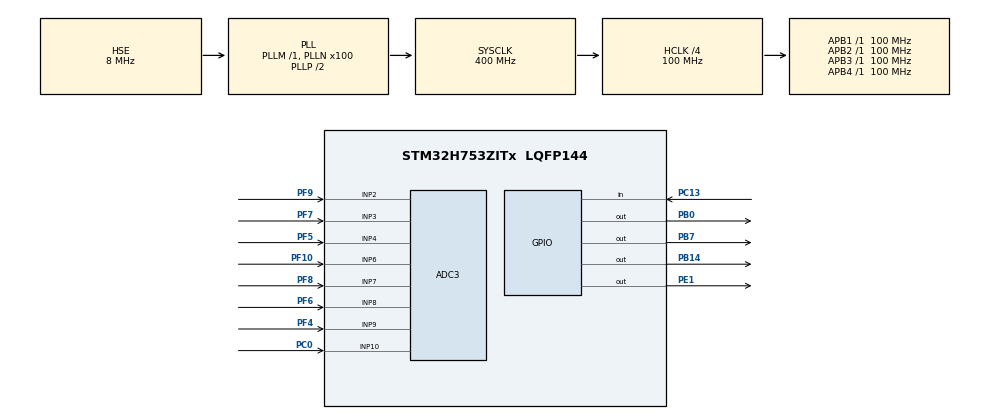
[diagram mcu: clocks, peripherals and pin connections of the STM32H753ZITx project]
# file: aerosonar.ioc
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ADC3.Channel-0\#ChannelRegularConversion=ADC_CHANNEL_2
ADC3.Channel-1\#ChannelRegularConversion=ADC_CHANNEL_3
ADC3.Channel-2\#ChannelRegularConversion=ADC_CHANNEL_4
ADC3.Channel-3\#ChannelRegularConversion=ADC_CHANNEL_6
ADC3.Channel-4\#ChannelRegularConversion=ADC_CHANNEL_7
ADC3.Channel-5\#ChannelRegularConversion=ADC_CHANNEL_8
ADC3.Channel-6\#ChannelRegularConversion=ADC_CHANNEL_9
ADC3.Channel-7\#ChannelRegularConversion=ADC_CHANNEL_10
ADC3.ConversionDataManagement=ADC_CONVERSIONDATA_DMA_CIRCULAR
ADC3.ExternalTrigConv=ADC_EXTERNALTRIG_T6_TRGO
ADC3.NbrOfConversion=8
ADC3.NbrOfConversionFlag=1
ADC3.OffsetNumber-0\#ChannelRegularConversion=ADC_OFFSET_NONE
ADC3.OffsetNumber-1\#ChannelRegularConversion=ADC_OFFSET_NONE
ADC3.OffsetNumber-2\#ChannelRegularConversion=ADC_OFFSET_NONE
ADC3.OffsetNumber-3\#ChannelRegularConversion=ADC_OFFSET_NONE
ADC3.OffsetNumber-4\#ChannelRegularConversion=ADC_OFFSET_NONE
ADC3.OffsetNumber-5\#ChannelRegularConversion=ADC_OFFSET_NONE
ADC3.OffsetNumber-6\#ChannelRegularConversion=ADC_OFFSET_NONE
ADC3.OffsetNumber-7\#ChannelRegularConversion=ADC_OFFSET_NONE
ADC3.OffsetSignedSaturation-0\#ChannelRegularConversion=DISABLE
ADC3.OffsetSignedSaturation-1\#ChannelRegularConversion=DISABLE
ADC3.OffsetSignedSaturation-2\#ChannelRegularConversion=DISABLE
ADC3.OffsetSignedSaturation-3\#ChannelRegularConversion=DISABLE
ADC3.OffsetSignedSaturation-4\#ChannelRegularConversion=DISABLE
ADC3.OffsetSignedSaturation-5\#ChannelRegularConversion=DISABLE
ADC3.OffsetSignedSaturation-6\#ChannelRegularConversion=DISABLE
ADC3.OffsetSignedSaturation-7\#ChannelRegularConversion=DISABLE
ADC3.Overrun=ADC_OVR_DATA_OVERWRITTEN
ADC3.Rank-0\#ChannelRegularConversion=1
ADC3.Rank-1\#ChannelRegularConversion=2
ADC3.Rank-2\#ChannelRegularConversion=3
ADC3.Rank-3\#ChannelRegularConversion=4
ADC3.Rank-4\#ChannelRegularConversion=5
ADC3.Rank-5\#ChannelRegularConversion=6
ADC3.Rank-6\#ChannelRegularConversion=7
ADC3.Rank-7\#ChannelRegularConversion=8
ADC3.SamplingTime-0\#ChannelRegularConversion=ADC_SAMPLETIME_8CYCLES_5
ADC3.SamplingTime-1\#ChannelRegularConversion=ADC_SAMPLETIME_8CYCLES_5
ADC3.SamplingTime-2\#ChannelRegularConversion=ADC_SAMPLETIME_8CYCLES_5
ADC3.SamplingTime-3\#ChannelRegularConversion=ADC_SAMPLETIME_8CYCLES_5
ADC3.SamplingTime-4\#ChannelRegularConversion=ADC_SAMPLETIME_8CYCLES_5
ADC3.SamplingTime-5\#ChannelRegularConversion=ADC_SAMPLETIME_8CYCLES_5
ADC3.SamplingTime-6\#ChannelRegularConversion=ADC_SAMPLETIME_8CYCLES_5
ADC3.SamplingTime-7\#ChannelRegularConversion=ADC_SAMPLETIME_8CYCLES_5
Bdma.ADC3.0.Direction=DMA_PERIPH_TO_MEMORY
Bdma.ADC3.0.EventEnable=DISABLE
Bdma.ADC3.0.Instance=BDMA_Channel0
Bdma.ADC3.0.MemDataAlignment=DMA_MDATAALIGN_HALFWORD
Bdma.ADC3.0.MemInc=DMA_MINC_ENABLE
Bdma.ADC3.0.Mode=DMA_CIRCULAR
Bdma.ADC3.0.PeriphDataAlignment=DMA_PDATAALIGN_HALFWORD
Bdma.ADC3.0.PeriphInc=DMA_PINC_DISABLE
Bdma.ADC3.0.Polarity=HAL_DMAMUX_REQ_GEN_RISING
Bdma.ADC3.0.Priority=DMA_PRIORITY_HIGH
Bdma.ADC3.0.RequestNumber=1
Bdma.ADC3.0.SignalID=NONE
Bdma.ADC3.0.SyncEnable=DISABLE
Bdma.ADC3.0.SyncPolarity=HAL_DMAMUX_SYNC_NO_EVENT
Bdma.ADC3.0.SyncRequestNumber=1
Bdma.ADC3.0.SyncSignalID=NONE
Bdma.Request0=ADC3
Bdma.RequestsNb=1
CORTEX_M7.AccessPermission_Spec=MPU_REGION_FULL_ACCESS
CORTEX_M7.BaseAddress_Spec=0x38000000
CORTEX_M7.CPU_DCache=Enabled
CORTEX_M7.CPU_ICache=Enabled
CORTEX_M7.MPU_Control=MPU_HFNMI_PRIVDEF
CORTEX_M7.Size_Spec=MPU_REGION_SIZE_64KB
CORTEX_M7.SubRegionDisable_Spec=0x00
CORTEX_M7.default_mode_Activation=1
Mcu.Family=STM32H7
Mcu.Name=STM32H753ZITx
Mcu.Package=LQFP144
NUCLEO-H753ZI.BUTTON=1
NUCLEO-H753ZI.LD1=true
NUCLEO-H753ZI.LD2=true
NUCLEO-H753ZI.LD3=true
NUCLEO-H753ZI.VCP=true
NVIC.ADC3_IRQn=true\:0\:0\:false\:false\:true\:true\:true\:true
NVIC.BDMA_Channel0_IRQn=true\:0\:0\:false\:false\:true\:false\:true\:true
NVIC.EXTI15_10_IRQn=true\:0\:0\:false\:false\:true\:false\:true\:true
NVIC.PriorityGroup=NVIC_PRIORITYGROUP_4
PB0.Signal=GPIO_Output
PB14.Signal=GPIO_Output
PB7.Signal=GPIO_Output
PC0.Signal=ADCx_INP10
PC13.Signal=GPIO_Input
PC14-OSC32_IN\ (OSC32_IN).Signal=RCC_OSC32_IN
PC15-OSC32_OUT\ (OSC32_OUT).Signal=RCC_OSC32_OUT
PD8.Signal=USART3_TX
PD9.Signal=USART3_RX
PE1.Signal=GPIO_Output
PF10.Mode=IN6-Single-Ended
PF10.Signal=ADC3_INP6
PF4.Mode=IN9-Single-Ended
PF4.Signal=ADC3_INP9
PF5.Mode=IN4-Single-Ended
PF5.Signal=ADC3_INP4
PF6.Mode=IN8-Single-Ended
PF6.Signal=ADC3_INP8
PF7.Mode=IN3-Single-Ended
PF7.Signal=ADC3_INP3
PF8.Mode=IN7-Single-Ended
PF8.Signal=ADC3_INP7
PF9.Mode=IN2-Single-Ended
PF9.Signal=ADC3_INP2
PH0-OSC_IN\ (PH0).Mode=HSE-External-Clock-Source
PH0-OSC_IN\ (PH0).Signal=RCC_OSC_IN
PH1-OSC_OUT\ (PH1).Signal=RCC_OSC_OUT
ProjectManager.HeapSize=0x200
ProjectManager.StackSize=0x400
ProjectManager.TargetToolchain=STM32CubeIDE
RCC.ADCFreq_Value=50000000
RCC.APB1Freq_Value=100000000
RCC.APB2Freq_Value=100000000
RCC.APB3Freq_Value=100000000
RCC.APB4Freq_Value=100000000
RCC.CortexFreq_Value=400000000
RCC.DIVM1=1
RCC.DIVM2=2
RCC.DIVN1=100
RCC.DIVN2=100
RCC.DIVP2=8
RCC.DIVQ1=4
RCC.HCLKFreq_Value=100000000
RCC.HPRE=RCC_HCLK_DIV4
RCC.HSE_VALUE=8000000
RCC.PLL2FRACN=0
RCC.PLL3FRACN=0
RCC.PLLFRACN=0
RCC.PLLSourceVirtual=RCC_PLLSOURCE_HSE
RCC.PWR_Regulator_Voltage_Scale=PWR_REGULATOR_VOLTAGE_SCALE1
RCC.SYSCLKFreq_VALUE=400000000
RCC.SYSCLKSource=RCC_SYSCLKSOURCE_PLLCLK
RCC.USBFreq_Value=200000000
SH.ADCx_INP10.0=ADC3_INP10,IN10-Single-Ended
TIM6.AutoReloadPreload=TIM_AUTORELOAD_PRELOAD_ENABLE
TIM6.Period=3999
TIM6.TIM_MasterOutputTrigger=TIM_TRGO_UPDATE
VP_MEMORYMAP_VS_MEMORYMAP.Mode=CurAppReg
VP_NUCLEO-H753ZI_VS_BSP_COMMON.Mode=COMMON
VP_TIM6_VS_ClockSourceINT.Mode=Enable_Timer
board=NUCLEO-H753ZI

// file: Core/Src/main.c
/* USER CODE BEGIN Header */
/**
  ******************************************************************************
  * @file           : main.c
  * @brief          : Acquisition and processing entry point for the acoustic
  *                   localization subsystem.
  *
  * Eight microphone channels are sampled by a single converter under timer
  * pacing and transferred to memory by DMA without processor involvement.
  * The processor is interrupted twice per buffer traversal and performs all
  * signal processing from the main loop.
  *
  * Signal chain:
  *   TIM6 (25 kHz TRGO) -> ADC3 (8-rank scan, 16-bit) -> BDMA (circular)
  *   -> adc_buf in SRAM4 -> DOA_Process -> bearing estimate
  *
  * The acquisition buffer must reside in the D3 domain, since BDMA is the
  * only controller able to serve ADC3 and can master only D3 memory. Its
  * placement is fixed by an explicit linker section; see MPU_Config for the
  * corresponding cache attributes.
  ******************************************************************************
  * @attention
  *
  * Copyright (c) 2026 STMicroelectronics.
  * All rights reserved.
  *
  * This software is licensed under terms that can be found in the LICENSE file
  * in the root directory of this software component.
  * If no LICENSE file comes with this software, it is provided AS-IS.
  *
  ******************************************************************************
  */
/* USER CODE END Header */
#include "main.h"

/* USER CODE BEGIN Includes */
#include "doa.h"
#include <stdio.h>
/* USER CODE END Includes */

COM_InitTypeDef BspCOMInit;
ADC_HandleTypeDef hadc3;
DMA_HandleTypeDef hdma_adc3;

TIM_HandleTypeDef htim6;

/* USER CODE BEGIN PV */

/* Acquisition geometry. ADC_CH is the converter sequence length; ADC_FRAMES
 * is the frame length in samples per channel. The trailing factor of two
 * provides the two half-buffers: the DMA controller fills one while the
 * processor operates on the other.                                          */
#define ADC_CH       8
#define ADC_FRAMES   1024
#define ADC_BUF_LEN  (ADC_CH * ADC_FRAMES * 2)

/* A mismatch between the acquisition geometry and the estimator's frame
 * configuration produces no diagnostic at run time: the transform would
 * silently process the wrong number of samples.                             */
_Static_assert(ADC_FRAMES == DOA_N,
               "Frame length must match DOA_N");
_Static_assert(ADC_CH == DOA_NUM_MIC,
               "Converter sequence length must match DOA_NUM_MIC");

/* Placed in SRAM4 by the .RAM_D3 linker section. KEEP is applied there
 * because the buffer is referenced only through the DMA controller and would
 * otherwise be eligible for removal by link-time garbage collection.        */
__attribute__((section(".RAM_D3")))
uint16_t adc_buf[ADC_BUF_LEN];

/* Set by the DMA completion handlers, cleared by the main loop.
 * 0: no frame pending, 1: first half ready, 2: second half ready.           */
volatile int doa_half_ready = 0;

doa_result_t doa_res;

/* Instrumentation. doa_cycles measures DOA_Process alone; the channel health
 * survey is deliberately excluded from the timing window. doa_overruns
 * counts frames that arrived before the previous one had been processed and
 * should remain at zero in steady state.                                    */
volatile uint32_t doa_frames   = 0;
volatile uint32_t doa_overruns = 0;
volatile uint32_t doa_cycles   = 0;

/* Per-channel DC level and peak-to-peak amplitude over the current frame,
 * in converter counts.                                                      */
volatile uint16_t ch_dc[ADC_CH];
volatile uint16_t ch_pp[ADC_CH];

/* USER CODE END PV */

void SystemClock_Config(void);
static void MPU_Config(void);
static void MX_GPIO_Init(void);
static void MX_BDMA_Init(void);
static void MX_ADC3_Init(void);
static void MX_TIM6_Init(void);
/* USER CODE BEGIN PFP */
void PeriphCommonClock_Config(void);
static void channel_health(const uint16_t *frame);
/* USER CODE END PFP */

/* USER CODE BEGIN 0 */

/**
  * @brief  Record per-channel DC level and peak-to-peak amplitude.
  * @param  frame  One half-buffer, ADC_FRAMES * ADC_CH samples in rank order.
  *
  * Used to confirm that every channel is populated, correctly biased and
  * acoustically responsive. Channel c is extracted with stride ADC_CH.
  */
static void channel_health(const uint16_t *frame)
{
    for (int c = 0; c < ADC_CH; c++) {
        uint16_t mn = 65535, mx = 0;
        uint32_t acc = 0;

        for (int n = 0; n < ADC_FRAMES; n++) {
            uint16_t v = frame[n * ADC_CH + c];
            if (v < mn) mn = v;
            if (v > mx) mx = v;
            acc += v;
        }

        ch_dc[c] = (uint16_t)(acc / ADC_FRAMES);
        ch_pp[c] = mx - mn;
    }
}

/* USER CODE END 0 */

int main(void)
{

  /* MPU Configuration--------------------------------------------------------*/
  MPU_Config();

  /* Enable the CPU Cache */

  /* Enable I-Cache---------------------------------------------------------*/
  SCB_EnableICache();

  /* Enable D-Cache---------------------------------------------------------*/
  SCB_EnableDCache();

  /* MCU Configuration--------------------------------------------------------*/

  /* Reset of all peripherals, Initializes the Flash interface and the Systick. */
  HAL_Init();

  /* Configure the system clock */
  SystemClock_Config();

  /* USER CODE BEGIN SysInit */
  PeriphCommonClock_Config();
  /* USER CODE END SysInit */

  /* Initialize all configured peripherals */
  MX_GPIO_Init();
  MX_BDMA_Init();
  MX_ADC3_Init();
  MX_TIM6_Init();

  /* USER CODE BEGIN 2 */

  /* Enable the cycle counter, used to measure per-frame processing cost. */
  CoreDebug->DEMCR |= CoreDebug_DEMCR_TRCENA_Msk;
  DWT->CYCCNT = 0;
  DWT->CTRL  |= DWT_CTRL_CYCCNTENA_Msk;

  DOA_Init();

  /* The converter and DMA controller are armed before the pacing timer is
   * started, so that the first trigger is not issued into an inactive
   * transfer path.                                                          */
  if (HAL_ADC_Start_DMA(&hadc3, (uint32_t *)adc_buf, ADC_BUF_LEN) != HAL_OK)
  {
      Error_Handler();
  }
  HAL_TIM_Base_Start(&htim6);

  /* USER CODE END 2 */

  /* Initialize COM1 port (115200, 8 bits (7-bit data + 1 stop bit), no parity */
  BspCOMInit.BaudRate   = 115200;
  BspCOMInit.WordLength = COM_WORDLENGTH_8B;
  BspCOMInit.StopBits   = COM_STOPBITS_1;
  BspCOMInit.Parity     = COM_PARITY_NONE;
  BspCOMInit.HwFlowCtl  = COM_HWCONTROL_NONE;
  if (BSP_COM_Init(COM1, &BspCOMInit) != BSP_ERROR_NONE)
  {
    Error_Handler();
  }

  /* Infinite loop */
  /* USER CODE BEGIN WHILE */
  while (1)
  {
    int half = doa_half_ready;

    if (half != 0)
    {
      /* Cleared before processing rather than after, so that a frame
       * arriving mid-computation is preserved and detected below.           */
      doa_half_ready = 0;

      const uint16_t *frame = (half == 1)
                            ? &adc_buf[0]
                            : &adc_buf[ADC_CH * ADC_FRAMES];

      channel_health(frame);

      uint32_t t0 = DWT->CYCCNT;
      DOA_Process(frame, &doa_res);
      doa_cycles = DWT->CYCCNT - t0;

      doa_frames++;

      /* A flag already set on completion indicates that the frame period
       * was exceeded and samples have been lost.                            */
      if (doa_half_ready != 0) doa_overruns++;
    }
    /* USER CODE END WHILE */

  }
}

void SystemClock_Config(void)
{
  RCC_OscInitTypeDef RCC_OscInitStruct = {0};
  RCC_ClkInitTypeDef RCC_ClkInitStruct = {0};

  /** Supply configuration update enable
  */
  HAL_PWREx_ConfigSupply(PWR_LDO_SUPPLY);

  /** Configure the main internal regulator output voltage
  */
  __HAL_PWR_VOLTAGESCALING_CONFIG(PWR_REGULATOR_VOLTAGE_SCALE1);

  while(!__HAL_PWR_GET_FLAG(PWR_FLAG_VOSRDY)) {}

  /** Initializes the RCC Oscillators according to the specified parameters
  * in the RCC_OscInitTypeDef structure.
  */
  RCC_OscInitStruct.OscillatorType = RCC_OSCILLATORTYPE_HSE;
  RCC_OscInitStruct.HSEState = RCC_HSE_BYPASS;
  RCC_OscInitStruct.PLL.PLLState = RCC_PLL_ON;
  RCC_OscInitStruct.PLL.PLLSource = RCC_PLLSOURCE_HSE;
  RCC_OscInitStruct.PLL.PLLM = 1;
  RCC_OscInitStruct.PLL.PLLN = 100;
  RCC_OscInitStruct.PLL.PLLP = 2;
  RCC_OscInitStruct.PLL.PLLQ = 4;
  RCC_OscInitStruct.PLL.PLLR = 2;
  RCC_OscInitStruct.PLL.PLLRGE = RCC_PLL1VCIRANGE_3;
  RCC_OscInitStruct.PLL.PLLVCOSEL = RCC_PLL1VCOWIDE;
  RCC_OscInitStruct.PLL.PLLFRACN = 0;
  if (HAL_RCC_OscConfig(&RCC_OscInitStruct) != HAL_OK)
  {
    Error_Handler();
  }

  /** Initializes the CPU, AHB and APB buses clocks
  */
  RCC_ClkInitStruct.ClockType = RCC_CLOCKTYPE_HCLK|RCC_CLOCKTYPE_SYSCLK
                              |RCC_CLOCKTYPE_PCLK1|RCC_CLOCKTYPE_PCLK2
                              |RCC_CLOCKTYPE_D3PCLK1|RCC_CLOCKTYPE_D1PCLK1;
  RCC_ClkInitStruct.SYSCLKSource = RCC_SYSCLKSOURCE_PLLCLK;
  RCC_ClkInitStruct.SYSCLKDivider = RCC_SYSCLK_DIV1;
  RCC_ClkInitStruct.AHBCLKDivider = RCC_HCLK_DIV4;
  RCC_ClkInitStruct.APB3CLKDivider = RCC_APB3_DIV1;
  RCC_ClkInitStruct.APB1CLKDivider = RCC_APB1_DIV1;
  RCC_ClkInitStruct.APB2CLKDivider = RCC_APB2_DIV1;
  RCC_ClkInitStruct.APB4CLKDivider = RCC_APB4_DIV1;

  if (HAL_RCC_ClockConfig(&RCC_ClkInitStruct, FLASH_LATENCY_1) != HAL_OK)
  {
    Error_Handler();
  }
}

static void MX_ADC3_Init(void)
{

  ADC_ChannelConfTypeDef sConfig = {0};

  /** Common config
  */
  hadc3.Instance = ADC3;
  hadc3.Init.ClockPrescaler = ADC_CLOCK_ASYNC_DIV1;
  hadc3.Init.ScanConvMode = ADC_SCAN_ENABLE;
  hadc3.Init.EOCSelection = ADC_EOC_SINGLE_CONV;
  hadc3.Init.LowPowerAutoWait = DISABLE;
  hadc3.Init.ContinuousConvMode = DISABLE;
  hadc3.Init.NbrOfConversion = 8;
  hadc3.Init.DiscontinuousConvMode = DISABLE;
  hadc3.Init.ExternalTrigConv = ADC_EXTERNALTRIG_T6_TRGO;
  hadc3.Init.ExternalTrigConvEdge = ADC_EXTERNALTRIGCONVEDGE_RISING;
  hadc3.Init.ConversionDataManagement = ADC_CONVERSIONDATA_DMA_CIRCULAR;
  hadc3.Init.Overrun = ADC_OVR_DATA_OVERWRITTEN;
  hadc3.Init.LeftBitShift = ADC_LEFTBITSHIFT_NONE;
  hadc3.Init.OversamplingMode = DISABLE;
  hadc3.Init.Oversampling.Ratio = 1;
  if (HAL_ADC_Init(&hadc3) != HAL_OK)
  {
    Error_Handler();
  }
  hadc3.Init.Resolution = ADC_RESOLUTION_16B;
  if (HAL_ADC_Init(&hadc3) != HAL_OK)
  {
    Error_Handler();
  }

  /** Configure Regular Channel
  */
  sConfig.Channel = ADC_CHANNEL_2;
  sConfig.Rank = ADC_REGULAR_RANK_1;
  sConfig.SamplingTime = ADC_SAMPLETIME_32CYCLES_5;
  sConfig.SingleDiff = ADC_SINGLE_ENDED;
  sConfig.OffsetNumber = ADC_OFFSET_NONE;
  sConfig.Offset = 0;
  sConfig.OffsetSignedSaturation = DISABLE;
  if (HAL_ADC_ConfigChannel(&hadc3, &sConfig) != HAL_OK)
  {
    Error_Handler();
  }

  /** Configure Regular Channel
  */
  sConfig.Channel = ADC_CHANNEL_3;
  sConfig.Rank = ADC_REGULAR_RANK_2;
  if (HAL_ADC_ConfigChannel(&hadc3, &sConfig) != HAL_OK)
  {
    Error_Handler();
  }

  /** Configure Regular Channel
  */
  sConfig.Channel = ADC_CHANNEL_4;
  sConfig.Rank = ADC_REGULAR_RANK_3;
  if (HAL_ADC_ConfigChannel(&hadc3, &sConfig) != HAL_OK)
  {
    Error_Handler();
  }

  /** Configure Regular Channel
  */
  sConfig.Channel = ADC_CHANNEL_6;
  sConfig.Rank = ADC_REGULAR_RANK_4;
  if (HAL_ADC_ConfigChannel(&hadc3, &sConfig) != HAL_OK)
  {
    Error_Handler();
  }

  /** Configure Regular Channel
  */
  sConfig.Channel = ADC_CHANNEL_7;
  sConfig.Rank = ADC_REGULAR_RANK_5;
  if (HAL_ADC_ConfigChannel(&hadc3, &sConfig) != HAL_OK)
  {
    Error_Handler();
  }

  /** Configure Regular Channel
  */
  sConfig.Channel = ADC_CHANNEL_8;
  sConfig.Rank = ADC_REGULAR_RANK_6;
  if (HAL_ADC_ConfigChannel(&hadc3, &sConfig) != HAL_OK)
  {
    Error_Handler();
  }

  /** Configure Regular Channel
  */
  sConfig.Channel = ADC_CHANNEL_9;
  sConfig.Rank = ADC_REGULAR_RANK_7;
  if (HAL_ADC_ConfigChannel(&hadc3, &sConfig) != HAL_OK)
  {
    Error_Handler();
  }

  /** Configure Regular Channel
  */
  sConfig.Channel = ADC_CHANNEL_10;
  sConfig.Rank = ADC_REGULAR_RANK_8;
  if (HAL_ADC_ConfigChannel(&hadc3, &sConfig) != HAL_OK)
  {
    Error_Handler();
  }

}

static void MX_TIM6_Init(void)
{

  TIM_MasterConfigTypeDef sMasterConfig = {0};

  htim6.Instance = TIM6;
  htim6.Init.Prescaler = 0;
  htim6.Init.CounterMode = TIM_COUNTERMODE_UP;
  htim6.Init.Period = 3999;
  htim6.Init.AutoReloadPreload = TIM_AUTORELOAD_PRELOAD_ENABLE;
  if (HAL_TIM_Base_Init(&htim6) != HAL_OK)
  {
    Error_Handler();
  }
  sMasterConfig.MasterOutputTrigger = TIM_TRGO_UPDATE;
  sMasterConfig.MasterSlaveMode = TIM_MASTERSLAVEMODE_DISABLE;
  if (HAL_TIMEx_MasterConfigSynchronization(&htim6, &sMasterConfig) != HAL_OK)
  {
    Error_Handler();
  }

}

static void MX_BDMA_Init(void)
{

  /* DMA controller clock enable */
  __HAL_RCC_BDMA_CLK_ENABLE();

  /* DMA interrupt init */
  /* BDMA_Channel0_IRQn interrupt configuration */
  HAL_NVIC_SetPriority(BDMA_Channel0_IRQn, 0, 0);
  HAL_NVIC_EnableIRQ(BDMA_Channel0_IRQn);

}

static void MX_GPIO_Init(void)
{
  GPIO_InitTypeDef GPIO_InitStruct = {0};

  /* GPIO Ports Clock Enable */
  __HAL_RCC_GPIOC_CLK_ENABLE();
  __HAL_RCC_GPIOF_CLK_ENABLE();
  __HAL_RCC_GPIOH_CLK_ENABLE();
  __HAL_RCC_GPIOB_CLK_ENABLE();

  /*Configure GPIO pin Output Level */
  HAL_GPIO_WritePin(GPIOB, GPIO_PIN_7, GPIO_PIN_RESET);

  /*Configure GPIO pin : PB7 */
  GPIO_InitStruct.Pin = GPIO_PIN_7;
  GPIO_InitStruct.Mode = GPIO_MODE_OUTPUT_PP;
  GPIO_InitStruct.Pull = GPIO_NOPULL;
  GPIO_InitStruct.Speed = GPIO_SPEED_FREQ_LOW;
  HAL_GPIO_Init(GPIOB, &GPIO_InitStruct);

}

/* USER CODE BEGIN 4 */

/**
  * @brief  Configure the converter kernel clock.
  *
  * The converter is clocked independently of the bus domains. PLL2 divides
  * the 8 MHz reference by 2 and multiplies by 100 to a 400 MHz oscillator,
  * from which P=8 yields a 50 MHz kernel clock. With ADC_CLOCK_ASYNC_DIV1
  * this is the conversion clock, and it determines the inter-rank interval
  * corrected by DOA_SKEW_DT.
  */
void PeriphCommonClock_Config(void)
{
  RCC_PeriphCLKInitTypeDef PeriphClkInitStruct = {0};

  PeriphClkInitStruct.PeriphClockSelection = RCC_PERIPHCLK_ADC;
  PeriphClkInitStruct.PLL2.PLL2M = 2;
  PeriphClkInitStruct.PLL2.PLL2N = 100;
  PeriphClkInitStruct.PLL2.PLL2P = 8;
  PeriphClkInitStruct.PLL2.PLL2Q = 2;
  PeriphClkInitStruct.PLL2.PLL2R = 2;
  PeriphClkInitStruct.PLL2.PLL2RGE = RCC_PLL2VCIRANGE_3;
  PeriphClkInitStruct.PLL2.PLL2VCOSEL = RCC_PLL2VCOWIDE;
  PeriphClkInitStruct.PLL2.PLL2FRACN = 0;
  PeriphClkInitStruct.AdcClockSelection = RCC_ADCCLKSOURCE_PLL2;
  if (HAL_RCCEx_PeriphCLKConfig(&PeriphClkInitStruct) != HAL_OK)
  {
    Error_Handler();
  }
}

/* DMA completion handlers. These signal frame availability and perform no
 * processing: the transform occupies a substantial fraction of the frame
 * period and executing it here would delay subsequent interrupts and
 * eventually cause sample loss.                                             */

void HAL_ADC_ConvHalfCpltCallback(ADC_HandleTypeDef *hadc)
{
    if (hadc->Instance == ADC3) doa_half_ready = 1;
}

void HAL_ADC_ConvCpltCallback(ADC_HandleTypeDef *hadc)
{
    if (hadc->Instance == ADC3) doa_half_ready = 2;
}

/**
  * @brief  Retarget standard output to the instrumentation trace port.
  *
  * Requires trace output to be enabled in the debug configuration; with it
  * disabled the characters are discarded.
  */
int _write(int file, char *ptr, int len)
{
    (void)file;

    for (int i = 0; i < len; i++) {
        ITM_SendChar((uint32_t)(uint8_t)ptr[i]);
    }

    return len;
}

/* USER CODE END 4 */

/**
  * @brief  Configure the memory protection unit.
  *
  * Marks the acquisition buffer region non-cacheable. The processor's
  * write-back data cache is not coherent with DMA writes, so a cached read
  * of the buffer could return stale data. Defining the attribute here avoids
  * issuing explicit cache maintenance around every access. The region is
  * also marked execute-never, as it holds data exclusively.
  *
  * Must run before the caches are enabled.
  */
static void MPU_Config(void)
{
  MPU_Region_InitTypeDef MPU_InitStruct = {0};

  /* Disables the MPU */
  HAL_MPU_Disable();

  /** Initializes and configures the Region and the memory to be protected
  */
  MPU_InitStruct.Enable = MPU_REGION_ENABLE;
  MPU_InitStruct.Number = MPU_REGION_NUMBER0;
  MPU_InitStruct.BaseAddress = 0x38000000;      /* SRAM4, D3 domain */
  MPU_InitStruct.Size = MPU_REGION_SIZE_64KB;
  MPU_InitStruct.SubRegionDisable = 0x00;
  MPU_InitStruct.TypeExtField = MPU_TEX_LEVEL0;
  MPU_InitStruct.AccessPermission = MPU_REGION_FULL_ACCESS;
  MPU_InitStruct.DisableExec = MPU_INSTRUCTION_ACCESS_DISABLE;
  MPU_InitStruct.IsShareable = MPU_ACCESS_SHAREABLE;
  MPU_InitStruct.IsCacheable = MPU_ACCESS_NOT_CACHEABLE;
  MPU_InitStruct.IsBufferable = MPU_ACCESS_NOT_BUFFERABLE;

  HAL_MPU_ConfigRegion(&MPU_InitStruct);

  /* PRIVDEF retains the default memory map as a background region, so that
   * addresses not covered by an explicit region remain accessible.          */
  HAL_MPU_Enable(MPU_HFNMI_PRIVDEF);
}

void Error_Handler(void)
{
  __disable_irq();
  while (1)
  {
  }
}
